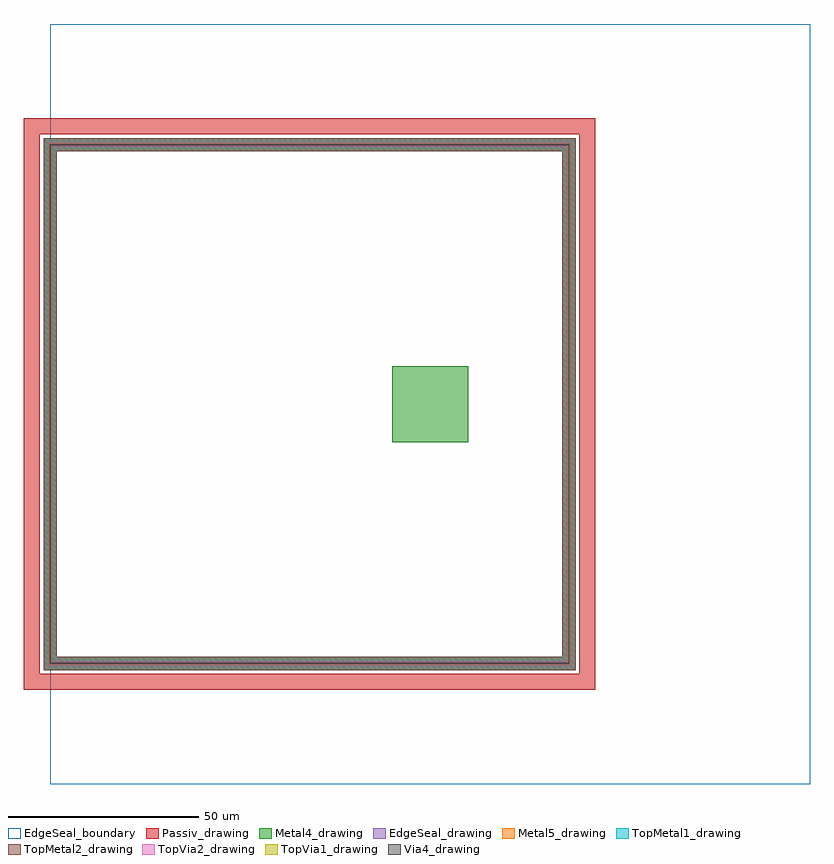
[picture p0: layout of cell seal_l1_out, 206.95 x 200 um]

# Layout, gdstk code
import gdstk
lib = gdstk.Library(unit=1e-6, precision=1e-09)
def R(c, l, rs):  # rectangles x0, y0, x1, y1
    for r in rs: c.add(gdstk.rectangle(r[:2], r[2:], *l))
def P(c, l, *ps):  # polygons
    for p in ps: c.add(gdstk.Polygon(p, *l))
Passiv_drawing = (9, 0)
EdgeSeal_drawing = (39, 0)
EdgeSeal_boundary = (39, 4)
Metal4_drawing = (50, 0)
Via4_drawing = (66, 0)
Metal5_drawing = (67, 0)
TopVia1_drawing = (125, 0)
TopMetal1_drawing = (126, 0)
TopVia2_drawing = (133, 0)
TopMetal2_drawing = (134, 0)

seal_l1_out = lib.new_cell('seal_l1_out')
P(seal_l1_out, Passiv_drawing, [(-6.95,24.8),(-6.95,171),(-2.75,171),(-2.75,29),(139.25,29),(139.25,171),(-6.95,171),(-6.95,175.2),(143.45,175.2),(143.45,24.8)])
P(seal_l1_out, EdgeSeal_drawing, [(-1.75,30),(-1.75,166.5),(1.75,166.5),(1.75,33.5),(134.75,33.5),(134.75,166.5),(-1.75,166.5),(-1.75,170),(138.25,170),(138.25,30)])
R(seal_l1_out, EdgeSeal_boundary, [(0,0,200,200)])
R(seal_l1_out, Metal4_drawing, [(90,90,110,110)])
P(seal_l1_out, Metal4_drawing, [(-1.75,30),(-1.75,166.5),(1.75,166.5),(1.75,33.5),(134.75,33.5),(134.75,166.5),(-1.75,166.5),(-1.75,170),(138.25,170),(138.25,30)])
P(seal_l1_out, Via4_drawing, [(-0.095,31.655),(-0.095,168.155),(0.095,168.155),(0.095,31.845),(136.405,31.845),(136.405,168.155),(-0.095,168.155),(-0.095,168.345),(136.595,168.345),(136.595,31.655)])
P(seal_l1_out, Metal5_drawing, [(-1.75,30),(-1.75,166.5),(1.75,166.5),(1.75,33.5),(134.75,33.5),(134.75,166.5),(-1.75,166.5),(-1.75,170),(138.25,170),(138.25,30)])
P(seal_l1_out, TopVia1_drawing, [(-0.21,31.54),(-0.21,168.04),(0.21,168.04),(0.21,31.96),(136.29,31.96),(136.29,168.04),(-0.21,168.04),(-0.21,168.46),(136.71,168.46),(136.71,31.54)])
P(seal_l1_out, TopMetal1_drawing, [(-1.75,30),(-1.75,166.5),(1.75,166.5),(1.75,33.5),(134.75,33.5),(134.75,166.5),(-1.75,166.5),(-1.75,170),(138.25,170),(138.25,30)])
P(seal_l1_out, TopVia2_drawing, [(-0.45,31.3),(-0.45,167.8),(0.45,167.8),(0.45,32.2),(136.05,32.2),(136.05,167.8),(-0.45,167.8),(-0.45,168.7),(136.95,168.7),(136.95,31.3)])
P(seal_l1_out, TopMetal2_drawing, [(-1.75,30),(-1.75,166.5),(1.75,166.5),(1.75,33.5),(134.75,33.5),(134.75,166.5),(-1.75,166.5),(-1.75,170),(138.25,170),(138.25,30)])

lib.write_gds('seal_l1_out.gds')
